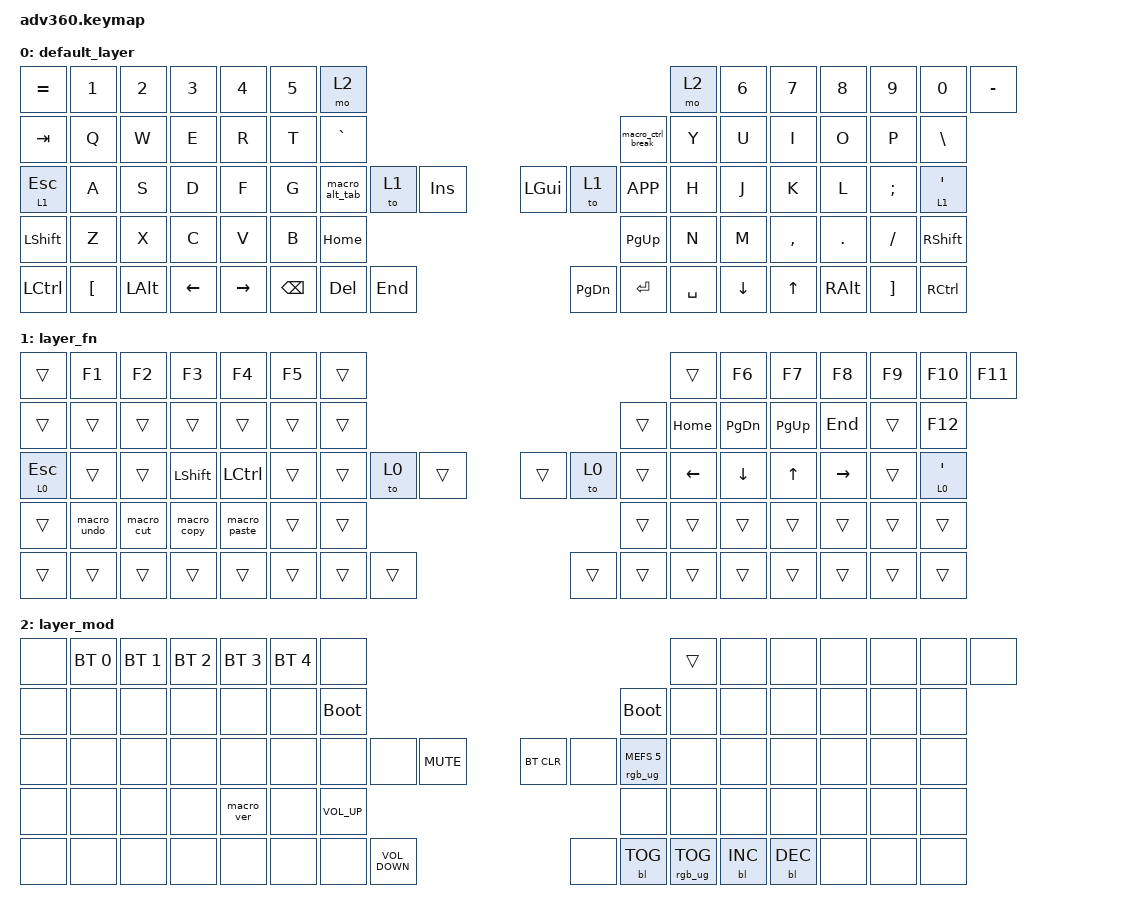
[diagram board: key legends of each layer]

/*
 * Copyright (c) 2020 The ZMK Contributors
 *
 * SPDX-License-Identifier: MIT
 */


/* THIS FILE WAS GENERATED!
 *
 * This file was generated automatically. You may or may not want to
 * edit it directly.
 */

#include <behaviors.dtsi>
#include <dt-bindings/zmk/keys.h>
#include <dt-bindings/zmk/bt.h>
#include <dt-bindings/zmk/rgb.h>
#include <dt-bindings/zmk/backlight.h>

/ {
  behaviors {
    #include "macros.dtsi"
    #include "version.dtsi"

    hm: homerow_mods {
        compatible = "zmk,behavior-hold-tap";
        label = "HOMEROW_MODS";
        #binding-cells = <2>;
        tapping-term-ms = <200>;
        quick_tap_ms = <175>;
        flavor = "tap-preferred";
        bindings = <&kp>, <&kp>;
    };
  };

    keymap {
        compatible = "zmk,keymap";


        default_layer {
            bindings = <
 &kp EQUAL            &kp N1        &kp N2    &kp N3     &kp N4  &kp N5                     &mo 2                                                                       &mo 2  &kp N6    &kp N7     &kp N8    &kp N9    &kp N0  &kp MINUS
   &kp TAB             &kp Q         &kp W     &kp E      &kp R   &kp T                 &kp GRAVE                                                           &macro_ctrl_break   &kp Y     &kp U      &kp I     &kp O     &kp P   &kp BSLH
 &lt 1 ESC             &kp A         &kp S     &kp D      &kp F   &kp G            &macro_alt_tab    &to 1   &kp INS                   &kp LGUI      &to 1          &kp K_APP   &kp H     &kp J      &kp K     &kp L  &kp SEMI  &lt 1 SQT
 &kp LSHFT             &kp Z         &kp X     &kp C      &kp V   &kp B                                     &kp HOME                  &kp PG_UP                                 &kp N     &kp M  &kp COMMA   &kp DOT  &kp FSLH  &kp RSHFT
 &kp LCTRL  &kp LEFT_BRACKET  &kp LEFT_ALT  &kp LEFT  &kp RIGHT                          &kp BSPC  &kp DEL   &kp END                  &kp PG_DN  &kp ENTER          &kp SPACE          &kp DOWN     &kp UP  &kp RALT  &kp RBKT  &kp RCTRL
            >;
        };

        layer_fn {
            bindings = <
    &trans       &kp F1      &kp F2          &kp F3            &kp F4  &kp F5            &trans                                                  &trans          &kp F6          &kp F7        &kp F8           &kp F9  &kp F10             &kp F11
    &trans       &trans      &trans          &trans            &trans  &trans            &trans                                                  &trans        &kp HOME       &kp PG_DN     &kp PG_UP          &kp END   &trans             &kp F12
 &lt 0 ESC       &trans      &trans  &kp LEFT_SHIFT  &kp LEFT_CONTROL  &trans            &trans   &to 0  &trans                  &trans   &to 0  &trans  &kp LEFT_ARROW  &kp DOWN_ARROW  &kp UP_ARROW  &kp RIGHT_ARROW   &trans  &lt 0 SINGLE_QUOTE
    &trans  &macro_undo  &macro_cut     &macro_copy      &macro_paste  &trans                            &trans                  &trans                          &trans          &trans        &trans           &trans   &trans              &trans
    &trans       &trans      &trans          &trans            &trans                    &trans  &trans  &trans                  &trans  &trans  &trans                          &trans        &trans           &trans   &trans              &trans
            >;
        };

        layer_mod {
            bindings = <
  &none  &bt BT_SEL 0  &bt BT_SEL 1  &bt BT_SEL 2  &bt BT_SEL 3  &bt BT_SEL 4                  &none                                                                                     &trans   &none       &none       &none   &none   &none   &none
  &none         &none         &none         &none         &none         &none            &bootloader                                                                                &bootloader   &none       &none       &none   &none   &none   &none
  &none         &none         &none         &none         &none         &none                  &none   &none         &kp C_MUTE                  &bt BT_CLR       &none  &rgb_ug RGB_MEFS_CMD 5   &none       &none       &none   &none   &none   &none
  &none         &none         &none         &none    &macro_ver         &none                                   &kp C_VOLUME_UP                       &none                                       &none       &none       &none   &none   &none   &none
  &none         &none         &none         &none         &none                                &none   &none  &kp C_VOLUME_DOWN                       &none  &bl BL_TOG         &rgb_ug RGB_TOG          &bl BL_INC  &bl BL_DEC   &none   &none   &none
            >;
        };

    };
};
